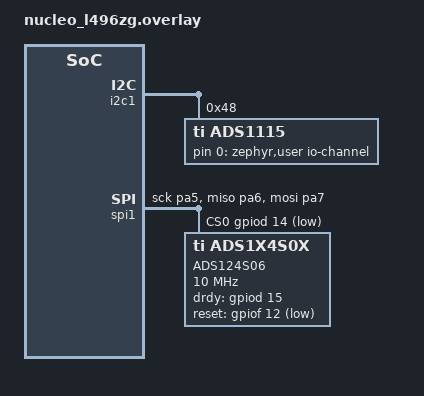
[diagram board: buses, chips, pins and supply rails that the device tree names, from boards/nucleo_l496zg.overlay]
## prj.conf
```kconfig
#I2C
CONFIG_I2C=y

#ADC
CONFIG_ADC=y

#ADS1115
CONFIG_ADC_ADS1X1X=y

#Disable STM32 Internal ADC(?)
#CONFIG_ADC_STM32=n
```

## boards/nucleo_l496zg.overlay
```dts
#include <zephyr/dt-bindings/adc/adc.h>

/ {
	zephyr,user {
		/* adjust channel number according to pinmux in board.dts */
		io-channels = <&my_ads1115 0>; 
	};
};

&i2c1 {
	my_ads1115: ads1115@48{
		compatible = "ti,ads1115";
		label = "ADS1115";
		status = "okay";
		reg = <0x48>;
		
		#io-channel-cells = <1>;

		#address-cells = <1>;
		#size-cells = <0>;
	
		channel@0{
			reg = <0> ;
			zephyr,gain = "ADC_GAIN_1";
			zephyr,reference = "ADC_REF_INTERNAL";
			zephyr,acquisition-time = <ADC_ACQ_TIME_DEFAULT>;
			zephyr,resolution = <15>;		
		
			zephyr,input-positive = <0>; 
		};			
	};
};

&spi1{
	pinctrl-0 = <&spi1_sck_pa5 &spi1_miso_pa6 &spi1_mosi_pa7>;	//
	cs-gpios = <&gpiod 14 GPIO_ACTIVE_LOW>;         			//D10 on NucleoL496ZG
	status = "okay";
	
	my_ads124s06: ads1x4s06@0{
		compatible = "ti,ads1x4s0x", "ti,ads124s06";
		reg = <0>;
		spi-max-frequency = <DT_FREQ_M(10)>;
		label = "ADS124S06"; 
		drdy-gpios = <&gpiod 15 GPIO_ACTIVE_HIGH>;  			//D9 on NucleoL496ZG
		reset-gpios = <&gpiof 12 GPIO_ACTIVE_LOW>;  			//D8 on NucleoL496ZG
		#io-channel-cells = <2>;	
		
		my_ads124s06_gpio: gpio {
			compatible = "ti,ads1x4s0x-gpio";
			gpio-controller;
			ngpios = <4>;
			label = "ADS124S06_GPIO";
			#gpio-cells = <2>;
		};
	};
};
```

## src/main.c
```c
/*
 * Copyright (c) 2020 Libre Solar Technologies GmbH
 *
 * SPDX-License-Identifier: Apache-2.0
 */

#include <inttypes.h>
#include <stddef.h>
#include <stdint.h>
#include <stdio.h>

#include <zephyr/device.h>
#include <zephyr/devicetree.h>
#include <zephyr/drivers/adc.h>
#include <zephyr/kernel.h>
#include <zephyr/sys/printk.h>
#include <zephyr/sys/util.h>

#define ADS1115 DT_NODELABEL(my_ads1115)

int ads1115_reg = DT_PROP(ADS1115, reg);

void main(void)
{
	printf("%d \n", ads1115_reg);
}
```
